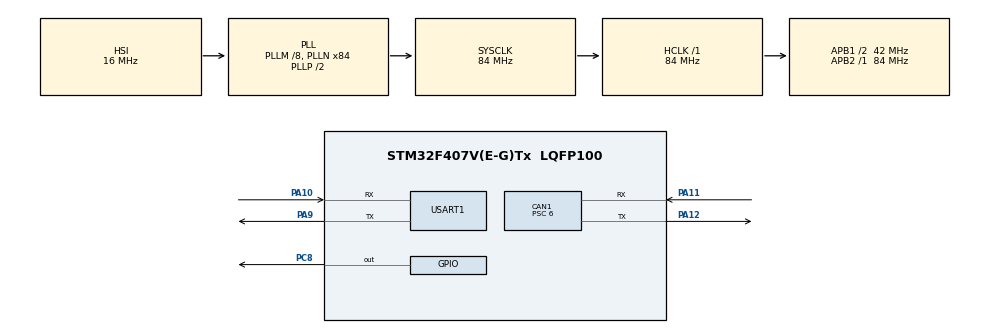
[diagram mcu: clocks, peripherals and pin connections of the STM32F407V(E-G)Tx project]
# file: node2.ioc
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CAN1.BS1=CAN_BS1_11TQ
CAN1.BS2=CAN_BS2_2TQ
CAN1.CalculateBaudRate=500000
CAN1.CalculateTimeBit=2000
CAN1.CalculateTimeQuantum=142.85714285714286
CAN1.Prescaler=6
Mcu.Family=STM32F4
Mcu.Name=STM32F407V(E-G)Tx
Mcu.Package=LQFP100
NVIC.CAN1_RX0_IRQn=true\:0\:0\:false\:false\:true\:true\:true\:true
NVIC.CAN1_TX_IRQn=true\:0\:0\:false\:false\:true\:true\:true\:true
NVIC.PriorityGroup=NVIC_PRIORITYGROUP_4
NVIC.USART1_IRQn=true\:0\:0\:false\:false\:true\:true\:true\:true
PA10.Mode=Asynchronous
PA10.Signal=USART1_RX
PA11.Mode=CAN_Activate
PA11.Signal=CAN1_RX
PA12.Mode=CAN_Activate
PA12.Signal=CAN1_TX
PA13.Mode=Serial_Wire
PA13.Signal=SYS_JTMS-SWDIO
PA14.Mode=Serial_Wire
PA14.Signal=SYS_JTCK-SWCLK
PA9.Mode=Asynchronous
PA9.Signal=USART1_TX
PC8.Signal=GPIO_Output
ProjectManager.HeapSize=0x200
ProjectManager.StackSize=0x400
ProjectManager.TargetToolchain=STM32CubeIDE
RCC.48MHZClocksFreq_Value=42000000
RCC.AHBFreq_Value=84000000
RCC.APB1CLKDivider=RCC_HCLK_DIV2
RCC.APB1Freq_Value=42000000
RCC.APB1TimFreq_Value=84000000
RCC.APB2Freq_Value=84000000
RCC.APB2TimFreq_Value=84000000
RCC.CortexFreq_Value=84000000
RCC.HCLKFreq_Value=84000000
RCC.HSE_VALUE=25000000
RCC.HSI_VALUE=16000000
RCC.LSE_VALUE=32768
RCC.PLLM=8
RCC.PLLN=84
RCC.SYSCLKFreq_VALUE=84000000
RCC.SYSCLKSource=RCC_SYSCLKSOURCE_PLLCLK
RCC.VCOOutputFreq_Value=168000000
USART1.VirtualMode=VM_ASYNC
board=custom

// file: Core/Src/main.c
/* USER CODE BEGIN Header */
/**
  ******************************************************************************
  * @file           : main.c
  * @brief          : Main program body
  ******************************************************************************
  * @attention
  *
  * Copyright (c) 2026 STMicroelectronics.
  * All rights reserved.
  *
  * This software is licensed under terms that can be found in the LICENSE file
  * in the root directory of this software component.
  * If no LICENSE file comes with this software, it is provided AS-IS.
  *
  ******************************************************************************
  */
/* USER CODE END Header */
#include "main.h"
#include "can.h"
#include "usart.h"
#include "gpio.h"

/* USER CODE BEGIN PD */

#define CAN_REQ_ID 0x100U
#define CAN_ACK_ID 0x101U
/* USER CODE END PD */

/* USER CODE BEGIN PV */
CAN_RxHeaderTypeDef RxHeader;
uint8_t RxData[8];

/* USER CODE END PV */

void SystemClock_Config(void);

int main(void)
{

  /* MCU Configuration--------------------------------------------------------*/

  /* Reset of all peripherals, Initializes the Flash interface and the Systick. */
  HAL_Init();

  /* Configure the system clock */
  SystemClock_Config();

  /* Initialize all configured peripherals */
  MX_GPIO_Init();
  MX_CAN1_Init();
  MX_USART1_UART_Init();
  /* USER CODE BEGIN 2 */
  CAN_FilterTypeDef canFilter = {0};

  canFilter.FilterBank = 0;
  canFilter.FilterMode = CAN_FILTERMODE_IDMASK;
  canFilter.FilterScale = CAN_FILTERSCALE_32BIT;
  canFilter.FilterIdHigh = 0x0000;
  canFilter.FilterIdLow = 0x0000;
  canFilter.FilterMaskIdHigh = 0x0000;
  canFilter.FilterMaskIdLow = 0x0000;
  canFilter.FilterFIFOAssignment = CAN_RX_FIFO0;
  canFilter.FilterActivation = ENABLE;
  canFilter.SlaveStartFilterBank = 14;
  HAL_CAN_ConfigFilter(&hcan1, &canFilter);

  HAL_CAN_Start(&hcan1);
  HAL_CAN_ActivateNotification(&hcan1, CAN_IT_RX_FIFO0_MSG_PENDING);

  /* USER CODE END 2 */

  /* Infinite loop */
  while (1)
  {
    /* USER CODE BEGIN 3 */
    /* CAN RX handled in callback */
    /* USER CODE END 3 */
  }
}

void SystemClock_Config(void)
{
  RCC_OscInitTypeDef RCC_OscInitStruct = {0};
  RCC_ClkInitTypeDef RCC_ClkInitStruct = {0};

  /** Configure the main internal regulator output voltage
  */
  __HAL_RCC_PWR_CLK_ENABLE();
  __HAL_PWR_VOLTAGESCALING_CONFIG(PWR_REGULATOR_VOLTAGE_SCALE1);

  /** Initializes the RCC Oscillators according to the specified parameters
  * in the RCC_OscInitTypeDef structure.
  */
  RCC_OscInitStruct.OscillatorType = RCC_OSCILLATORTYPE_HSI;
  RCC_OscInitStruct.HSIState = RCC_HSI_ON;
  RCC_OscInitStruct.HSICalibrationValue = RCC_HSICALIBRATION_DEFAULT;
  RCC_OscInitStruct.PLL.PLLState = RCC_PLL_ON;
  RCC_OscInitStruct.PLL.PLLSource = RCC_PLLSOURCE_HSI;
  RCC_OscInitStruct.PLL.PLLM = 8;
  RCC_OscInitStruct.PLL.PLLN = 84;
  RCC_OscInitStruct.PLL.PLLP = RCC_PLLP_DIV2;
  RCC_OscInitStruct.PLL.PLLQ = 4;
  if (HAL_RCC_OscConfig(&RCC_OscInitStruct) != HAL_OK)
  {
    Error_Handler();
  }

  /** Initializes the CPU, AHB and APB buses clocks
  */
  RCC_ClkInitStruct.ClockType = RCC_CLOCKTYPE_HCLK|RCC_CLOCKTYPE_SYSCLK
                              |RCC_CLOCKTYPE_PCLK1|RCC_CLOCKTYPE_PCLK2;
  RCC_ClkInitStruct.SYSCLKSource = RCC_SYSCLKSOURCE_PLLCLK;
  RCC_ClkInitStruct.AHBCLKDivider = RCC_SYSCLK_DIV1;
  RCC_ClkInitStruct.APB1CLKDivider = RCC_HCLK_DIV2;
  RCC_ClkInitStruct.APB2CLKDivider = RCC_HCLK_DIV1;

  if (HAL_RCC_ClockConfig(&RCC_ClkInitStruct, FLASH_LATENCY_2) != HAL_OK)
  {
    Error_Handler();
  }
}

/* USER CODE BEGIN 4 */
void HAL_CAN_RxFifo0MsgPendingCallback(CAN_HandleTypeDef *hcan)
{
    if (HAL_CAN_GetRxMessage(hcan, CAN_RX_FIFO0, &RxHeader, RxData) == HAL_OK)
    {
        if (RxHeader.StdId == CAN_REQ_ID)
        {
            HAL_GPIO_TogglePin(GPIOC, GPIO_PIN_8);
        }
    }
}
/* USER CODE END 4 */

void Error_Handler(void)
{
  __disable_irq();
  while (1)
  {
  }
}
